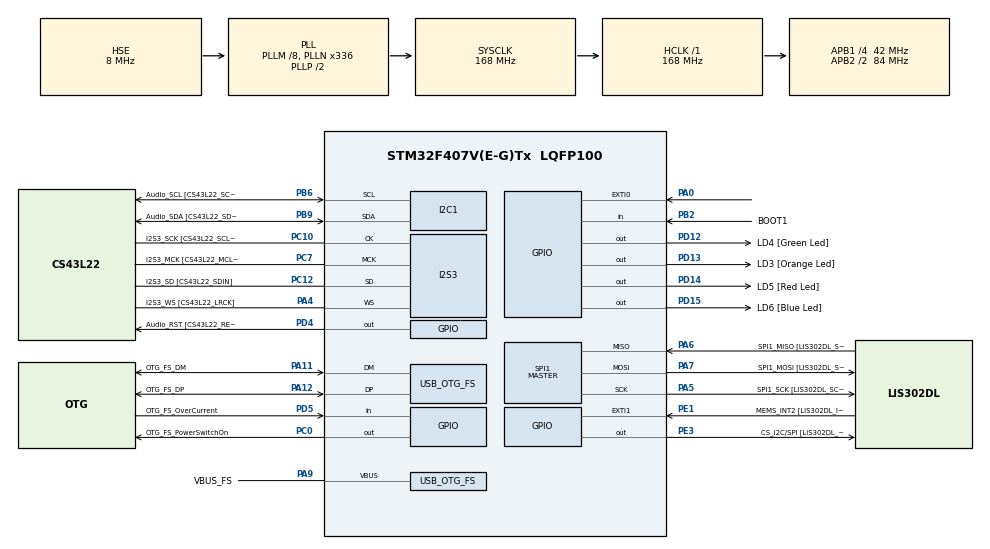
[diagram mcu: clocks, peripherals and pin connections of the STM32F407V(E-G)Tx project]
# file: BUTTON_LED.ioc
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I2S3.AudioFreq-Half_Duplex_Master=I2S_AUDIOFREQ_96K
I2S3.ErrorAudioFreq=-2.34 %
I2S3.ErrorAudioFreq-Half_Duplex_Master=0.8 %
I2S3.FullDuplexMode=I2S_FULLDUPLEXMODE_DISABLE
I2S3.Instance=SPI$Index
I2S3.RealAudioFreq=93.75 KHz
I2S3.RealAudioFreq-Half_Duplex_Master=96.774 KHz
I2S3.VirtualMode=I2S_MODE_MASTER
Mcu.Family=STM32F4
Mcu.Name=STM32F407V(E-G)Tx
Mcu.Package=LQFP100
NVIC.EXTI0_IRQn=true\:0\:0\:false\:false\:true\:true\:true\:true
NVIC.OTG_FS_IRQn=true\:0\:0\:false\:false\:true\:true\:true\:true
NVIC.PriorityGroup=NVIC_PRIORITYGROUP_0
PA0-WKUP.GPIO_ModeDefaultEXTI=GPIO_MODE_IT_RISING_FALLING
PA0-WKUP.GPIO_PuPd=GPIO_NOPULL
PA0-WKUP.Signal=GPXTI0
PA10.GPIO_Label=OTG_FS_ID
PA10.GPIO_Mode=GPIO_MODE_AF_PP
PA10.GPIO_PuPd=GPIO_NOPULL
PA10.GPIO_Speed=GPIO_SPEED_FREQ_LOW
PA10.Signal=USB_OTG_FS_ID
PA11.GPIO_Label=OTG_FS_DM
PA11.GPIO_Mode=GPIO_MODE_AF_PP
PA11.GPIO_PuPd=GPIO_NOPULL
PA11.GPIO_Speed=GPIO_SPEED_FREQ_LOW
PA11.Mode=Host_Only
PA11.Signal=USB_OTG_FS_DM
PA12.GPIO_Label=OTG_FS_DP
PA12.GPIO_Mode=GPIO_MODE_AF_PP
PA12.GPIO_PuPd=GPIO_NOPULL
PA12.GPIO_Speed=GPIO_SPEED_FREQ_LOW
PA12.Mode=Host_Only
PA12.Signal=USB_OTG_FS_DP
PA13.GPIO_Label=SWDIO
PA13.Mode=Serial_Wire
PA13.Signal=SYS_JTMS-SWDIO
PA14.GPIO_Label=SWCLK
PA14.Mode=Serial_Wire
PA14.Signal=SYS_JTCK-SWCLK
PA4.GPIO_Label=I2S3_WS [CS43L22_LRCK]
PA4.GPIO_Mode=GPIO_MODE_AF_PP
PA4.GPIO_PuPd=GPIO_NOPULL
PA4.GPIO_Speed=GPIO_SPEED_FREQ_LOW
PA4.Mode=Half_Duplex_Master
PA4.Signal=I2S3_WS
PA5.GPIO_Label=SPI1_SCK [LIS302DL_SCL/SPC]
PA5.GPIO_Mode=GPIO_MODE_AF_PP
PA5.GPIO_PuPd=GPIO_NOPULL
PA5.GPIO_Speed=GPIO_SPEED_FREQ_LOW
PA5.Mode=Full_Duplex_Master
PA5.Signal=SPI1_SCK
PA6.GPIO_Label=SPI1_MISO [LIS302DL_SDO]
PA6.GPIO_Mode=GPIO_MODE_AF_PP
PA6.GPIO_PuPd=GPIO_NOPULL
PA6.GPIO_Speed=GPIO_SPEED_FREQ_LOW
PA6.Mode=Full_Duplex_Master
PA6.Signal=SPI1_MISO
PA7.GPIO_Label=SPI1_MOSI [LIS302DL_SDA/SDI/SDO]
PA7.GPIO_Mode=GPIO_MODE_AF_PP
PA7.GPIO_PuPd=GPIO_NOPULL
PA7.GPIO_Speed=GPIO_SPEED_FREQ_LOW
PA7.Mode=Full_Duplex_Master
PA7.Signal=SPI1_MOSI
PA9.GPIO_Label=VBUS_FS
PA9.GPIO_Mode=GPIO_MODE_INPUT
PA9.GPIO_PuPd=GPIO_NOPULL
PA9.Mode=Activate_VBUS
PA9.Signal=USB_OTG_FS_VBUS
PB10.GPIO_Label=CLK_IN [MP45DT02_CLK]
PB10.GPIO_Mode=GPIO_MODE_AF_PP
PB10.GPIO_PuPd=GPIO_NOPULL
PB10.GPIO_Speed=GPIO_SPEED_FREQ_LOW
PB10.Signal=I2S2_CK
PB2.GPIO_Label=BOOT1
PB2.GPIO_Mode=GPIO_MODE_INPUT
PB2.GPIO_PuPd=GPIO_NOPULL
PB2.Signal=GPIO_Input
PB3.GPIO_Label=SWO
PB3.Signal=SYS_JTDO-SWO
PB6.GPIO_Label=Audio_SCL [CS43L22_SCL]
PB6.GPIO_Mode=GPIO_MODE_AF_OD
PB6.GPIO_Pu=GPIO_PULLUP
PB6.GPIO_PuPd=GPIO_NOPULL
PB6.GPIO_Speed=GPIO_SPEED_FREQ_LOW
PB6.Mode=I2C
PB6.Signal=I2C1_SCL
PB9.GPIO_Label=Audio_SDA [CS43L22_SDA]
PB9.GPIO_Mode=GPIO_MODE_AF_OD
PB9.GPIO_Pu=GPIO_PULLUP
PB9.GPIO_PuPd=GPIO_NOPULL
PB9.GPIO_Speed=GPIO_SPEED_FREQ_LOW
PB9.Mode=I2C
PB9.Signal=I2C1_SDA
PC0.GPIO_Label=OTG_FS_PowerSwitchOn
PC0.GPIO_PuPd=GPIO_NOPULL
PC0.GPIO_Speed=GPIO_SPEED_FREQ_LOW
PC0.PinState=GPIO_PIN_SET
PC0.Signal=GPIO_Output
PC10.GPIO_Label=I2S3_SCK [CS43L22_SCLK]
PC10.GPIO_Mode=GPIO_MODE_AF_PP
PC10.GPIO_PuPd=GPIO_NOPULL
PC10.GPIO_Speed=GPIO_SPEED_FREQ_LOW
PC10.Mode=Half_Duplex_Master
PC10.Signal=I2S3_CK
PC12.GPIO_Label=I2S3_SD [CS43L22_SDIN]
PC12.GPIO_Mode=GPIO_MODE_AF_PP
PC12.GPIO_PuPd=GPIO_NOPULL
PC12.GPIO_Speed=GPIO_SPEED_FREQ_LOW
PC12.Mode=Half_Duplex_Master
PC12.Signal=I2S3_SD
PC14-OSC32_IN.GPIO_Label=PC14-OSC32_IN
PC14-OSC32_IN.Mode=LSE-External-Oscillator
PC14-OSC32_IN.Signal=RCC_OSC32_IN
PC15-OSC32_OUT.GPIO_Label=PC15-OSC32_OUT
PC15-OSC32_OUT.Mode=LSE-External-Oscillator
PC15-OSC32_OUT.Signal=RCC_OSC32_OUT
PC3.GPIO_Label=PDM_OUT [MP45DT02_DOUT]
PC3.GPIO_Mode=GPIO_MODE_AF_PP
PC3.GPIO_PuPd=GPIO_NOPULL
PC3.GPIO_Speed=GPIO_SPEED_FREQ_LOW
PC3.Signal=I2S2_SD
PC7.GPIO_Label=I2S3_MCK [CS43L22_MCLK]
PC7.GPIO_Mode=GPIO_MODE_AF_PP
PC7.GPIO_PuPd=GPIO_NOPULL
PC7.GPIO_Speed=GPIO_SPEED_FREQ_LOW
PC7.Mode=Master_Clock_Activated
PC7.Signal=I2S3_MCK
PD12.GPIO_Label=LD4 [Green Led]
PD12.GPIO_PuPd=GPIO_NOPULL
PD12.GPIO_Speed=GPIO_SPEED_FREQ_LOW
PD12.Signal=GPIO_Output
PD13.GPIO_Label=LD3 [Orange Led]
PD13.GPIO_PuPd=GPIO_NOPULL
PD13.GPIO_Speed=GPIO_SPEED_FREQ_LOW
PD13.Signal=GPIO_Output
PD14.GPIO_Label=LD5 [Red Led]
PD14.GPIO_PuPd=GPIO_NOPULL
PD14.GPIO_Speed=GPIO_SPEED_FREQ_LOW
PD14.Signal=GPIO_Output
PD15.GPIO_Label=LD6 [Blue Led]
PD15.GPIO_PuPd=GPIO_NOPULL
PD15.GPIO_Speed=GPIO_SPEED_FREQ_LOW
PD15.PinState=GPIO_PIN_RESET
PD15.Signal=GPIO_Output
PD4.GPIO_Label=Audio_RST [CS43L22_RESET]
PD4.GPIO_PuPd=GPIO_NOPULL
PD4.GPIO_Speed=GPIO_SPEED_FREQ_LOW
PD4.Signal=GPIO_Output
PD5.GPIO_Label=OTG_FS_OverCurrent
PD5.GPIO_Mode=GPIO_MODE_INPUT
PD5.GPIO_PuPd=GPIO_NOPULL
PD5.Signal=GPIO_Input
PE1.GPIO_Label=MEMS_INT2 [LIS302DL_INT2]
PE1.GPIO_ModeDefaultEXTI=GPIO_MODE_EVT_RISING
PE1.GPIO_PuPd=GPIO_NOPULL
PE1.Signal=GPXTI1
PE3.GPIO_Label=CS_I2C/SPI [LIS302DL_CS_I2C/SPI]
PE3.GPIO_PuPd=GPIO_NOPULL
PE3.GPIO_Speed=GPIO_SPEED_FREQ_LOW
PE3.Signal=GPIO_Output
PH0-OSC_IN.GPIO_Label=PH0-OSC_IN
PH0-OSC_IN.Mode=HSE-External-Oscillator
PH0-OSC_IN.Signal=RCC_OSC_IN
PH1-OSC_OUT.GPIO_Label=PH1-OSC_OUT
PH1-OSC_OUT.Mode=HSE-External-Oscillator
PH1-OSC_OUT.Signal=RCC_OSC_OUT
ProjectManager.HeapSize=0x200
ProjectManager.StackSize=0x400
ProjectManager.TargetToolchain=STM32CubeIDE
RCC.48MHZClocksFreq_Value=48000000
RCC.AHBFreq_Value=168000000
RCC.APB1CLKDivider=RCC_HCLK_DIV4
RCC.APB1Freq_Value=42000000
RCC.APB1TimFreq_Value=84000000
RCC.APB2CLKDivider=RCC_HCLK_DIV2
RCC.APB2Freq_Value=84000000
RCC.APB2TimFreq_Value=168000000
RCC.CortexFreq_Value=168000000
RCC.HCLKFreq_Value=168000000
RCC.HSE_VALUE=8000000
RCC.HSI_VALUE=16000000
RCC.PLLM=8
RCC.PLLN=336
RCC.PLLQ=7
RCC.SYSCLKFreq_VALUE=168000000
RCC.SYSCLKSource=RCC_SYSCLKSOURCE_PLLCLK
RCC.VCOOutputFreq_Value=336000000
SPI1.BaudRatePrescaler-Full_Duplex_Master=SPI_BAUDRATEPRESCALER_2
SPI1.CalculateBaudRate-Full_Duplex_Master=42.0 MBits/s
SPI1.Direction=SPI_DIRECTION_2LINES
SPI1.Mode=SPI_MODE_MASTER
SPI1.Mode-Full_Duplex_Master=SPI_MODE_MASTER
SPI1.VirtualType=VM_MASTER
USB_HOST.BSP.number=1
USB_HOST.USBH_HandleTypeDef-CDC_FS=hUsbHostFS
USB_HOST.VirtualModeFS=Cdc
USB_HOST0.BSP.STBoard=false
USB_HOST0.BSP.api=Unknown
USB_HOST0.BSP.instance=PC0
USB_HOST0.BSP.ip=GPIO
USB_HOST0.BSP.mode=Output
USB_HOST0.BSP.name=Drive_VBUS_FS
USB_HOST0.BSP.solution=PC0
USB_OTG_FS.VirtualMode=Host_Only
USB_OTG_FS.phy_itface=HCD_PHY_EMBEDDED
VP_USB_HOST_VS_USB_HOST_CDC_FS.Mode=CDC_FS
board=STM32F407G-DISC1

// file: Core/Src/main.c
/* USER CODE BEGIN Header */
/**
  ******************************************************************************
  * @file           : main.c
  * @brief          : Main program body
  ******************************************************************************
  * @attention
  *
  * Copyright (c) 2025 STMicroelectronics.
  * All rights reserved.
  *
  * This software is licensed under terms that can be found in the LICENSE file
  * in the root directory of this software component.
  * If no LICENSE file comes with this software, it is provided AS-IS.
  *
  ******************************************************************************
  */
/* USER CODE END Header */
#include "main.h"
#include "usb_host.h"

I2C_HandleTypeDef hi2c1;

I2S_HandleTypeDef hi2s3;

SPI_HandleTypeDef hspi1;

void SystemClock_Config(void);
static void MX_GPIO_Init(void);
static void MX_I2C1_Init(void);
static void MX_I2S3_Init(void);
static void MX_SPI1_Init(void);
void MX_USB_HOST_Process(void);

/* USER CODE BEGIN PFP */
void buttonLed(void);
void readData(void);

/* USER CODE END PFP */

/* USER CODE BEGIN 0 */
GPIO_PinState ButtonState = 0;
GPIO_PinState LedState = 0;

/* USER CODE END 0 */

int main(void)
{

  /* MCU Configuration--------------------------------------------------------*/

  /* Reset of all peripherals, Initializes the Flash interface and the Systick. */
  HAL_Init();

  /* Configure the system clock */
  SystemClock_Config();

  /* Initialize all configured peripherals */
  MX_GPIO_Init();
  MX_I2C1_Init();
  MX_I2S3_Init();
  MX_SPI1_Init();
  MX_USB_HOST_Init();

  /* Infinite loop */
  while (1)
  {
    MX_USB_HOST_Process();

  }
}

void SystemClock_Config(void)
{
  RCC_OscInitTypeDef RCC_OscInitStruct = {0};
  RCC_ClkInitTypeDef RCC_ClkInitStruct = {0};

  /** Configure the main internal regulator output voltage
  */
  __HAL_RCC_PWR_CLK_ENABLE();
  __HAL_PWR_VOLTAGESCALING_CONFIG(PWR_REGULATOR_VOLTAGE_SCALE1);

  /** Initializes the RCC Oscillators according to the specified parameters
  * in the RCC_OscInitTypeDef structure.
  */
  RCC_OscInitStruct.OscillatorType = RCC_OSCILLATORTYPE_HSE;
  RCC_OscInitStruct.HSEState = RCC_HSE_ON;
  RCC_OscInitStruct.PLL.PLLState = RCC_PLL_ON;
  RCC_OscInitStruct.PLL.PLLSource = RCC_PLLSOURCE_HSE;
  RCC_OscInitStruct.PLL.PLLM = 8;
  RCC_OscInitStruct.PLL.PLLN = 336;
  RCC_OscInitStruct.PLL.PLLP = RCC_PLLP_DIV2;
  RCC_OscInitStruct.PLL.PLLQ = 7;
  if (HAL_RCC_OscConfig(&RCC_OscInitStruct) != HAL_OK)
  {
    Error_Handler();
  }

  /** Initializes the CPU, AHB and APB buses clocks
  */
  RCC_ClkInitStruct.ClockType = RCC_CLOCKTYPE_HCLK|RCC_CLOCKTYPE_SYSCLK
                              |RCC_CLOCKTYPE_PCLK1|RCC_CLOCKTYPE_PCLK2;
  RCC_ClkInitStruct.SYSCLKSource = RCC_SYSCLKSOURCE_PLLCLK;
  RCC_ClkInitStruct.AHBCLKDivider = RCC_SYSCLK_DIV1;
  RCC_ClkInitStruct.APB1CLKDivider = RCC_HCLK_DIV4;
  RCC_ClkInitStruct.APB2CLKDivider = RCC_HCLK_DIV2;

  if (HAL_RCC_ClockConfig(&RCC_ClkInitStruct, FLASH_LATENCY_5) != HAL_OK)
  {
    Error_Handler();
  }
}

static void MX_I2C1_Init(void)
{

  hi2c1.Instance = I2C1;
  hi2c1.Init.ClockSpeed = 100000;
  hi2c1.Init.DutyCycle = I2C_DUTYCYCLE_2;
  hi2c1.Init.OwnAddress1 = 0;
  hi2c1.Init.AddressingMode = I2C_ADDRESSINGMODE_7BIT;
  hi2c1.Init.DualAddressMode = I2C_DUALADDRESS_DISABLE;
  hi2c1.Init.OwnAddress2 = 0;
  hi2c1.Init.GeneralCallMode = I2C_GENERALCALL_DISABLE;
  hi2c1.Init.NoStretchMode = I2C_NOSTRETCH_DISABLE;
  if (HAL_I2C_Init(&hi2c1) != HAL_OK)
  {
    Error_Handler();
  }

}

static void MX_I2S3_Init(void)
{

  hi2s3.Instance = SPI3;
  hi2s3.Init.Mode = I2S_MODE_MASTER_TX;
  hi2s3.Init.Standard = I2S_STANDARD_PHILIPS;
  hi2s3.Init.DataFormat = I2S_DATAFORMAT_16B;
  hi2s3.Init.MCLKOutput = I2S_MCLKOUTPUT_ENABLE;
  hi2s3.Init.AudioFreq = I2S_AUDIOFREQ_96K;
  hi2s3.Init.CPOL = I2S_CPOL_LOW;
  hi2s3.Init.ClockSource = I2S_CLOCK_PLL;
  hi2s3.Init.FullDuplexMode = I2S_FULLDUPLEXMODE_DISABLE;
  if (HAL_I2S_Init(&hi2s3) != HAL_OK)
  {
    Error_Handler();
  }

}

static void MX_SPI1_Init(void)
{

  /* SPI1 parameter configuration*/
  hspi1.Instance = SPI1;
  hspi1.Init.Mode = SPI_MODE_MASTER;
  hspi1.Init.Direction = SPI_DIRECTION_2LINES;
  hspi1.Init.DataSize = SPI_DATASIZE_8BIT;
  hspi1.Init.CLKPolarity = SPI_POLARITY_LOW;
  hspi1.Init.CLKPhase = SPI_PHASE_1EDGE;
  hspi1.Init.NSS = SPI_NSS_SOFT;
  hspi1.Init.BaudRatePrescaler = SPI_BAUDRATEPRESCALER_2;
  hspi1.Init.FirstBit = SPI_FIRSTBIT_MSB;
  hspi1.Init.TIMode = SPI_TIMODE_DISABLE;
  hspi1.Init.CRCCalculation = SPI_CRCCALCULATION_DISABLE;
  hspi1.Init.CRCPolynomial = 10;
  if (HAL_SPI_Init(&hspi1) != HAL_OK)
  {
    Error_Handler();
  }

}

static void MX_GPIO_Init(void)
{
  GPIO_InitTypeDef GPIO_InitStruct = {0};

  /* GPIO Ports Clock Enable */
  __HAL_RCC_GPIOE_CLK_ENABLE();
  __HAL_RCC_GPIOC_CLK_ENABLE();
  __HAL_RCC_GPIOH_CLK_ENABLE();
  __HAL_RCC_GPIOA_CLK_ENABLE();
  __HAL_RCC_GPIOB_CLK_ENABLE();
  __HAL_RCC_GPIOD_CLK_ENABLE();

  /*Configure GPIO pin Output Level */
  HAL_GPIO_WritePin(CS_I2C_SPI_GPIO_Port, CS_I2C_SPI_Pin, GPIO_PIN_RESET);

  /*Configure GPIO pin Output Level */
  HAL_GPIO_WritePin(OTG_FS_PowerSwitchOn_GPIO_Port, OTG_FS_PowerSwitchOn_Pin, GPIO_PIN_SET);

  /*Configure GPIO pin Output Level */
  HAL_GPIO_WritePin(GPIOD, LD4_Pin|LD3_Pin|LD5_Pin|LD6_Pin
                          |Audio_RST_Pin, GPIO_PIN_RESET);

  /*Configure GPIO pin : CS_I2C_SPI_Pin */
  GPIO_InitStruct.Pin = CS_I2C_SPI_Pin;
  GPIO_InitStruct.Mode = GPIO_MODE_OUTPUT_PP;
  GPIO_InitStruct.Pull = GPIO_NOPULL;
  GPIO_InitStruct.Speed = GPIO_SPEED_FREQ_LOW;
  HAL_GPIO_Init(CS_I2C_SPI_GPIO_Port, &GPIO_InitStruct);

  /*Configure GPIO pin : OTG_FS_PowerSwitchOn_Pin */
  GPIO_InitStruct.Pin = OTG_FS_PowerSwitchOn_Pin;
  GPIO_InitStruct.Mode = GPIO_MODE_OUTPUT_PP;
  GPIO_InitStruct.Pull = GPIO_NOPULL;
  GPIO_InitStruct.Speed = GPIO_SPEED_FREQ_LOW;
  HAL_GPIO_Init(OTG_FS_PowerSwitchOn_GPIO_Port, &GPIO_InitStruct);

  /*Configure GPIO pin : PDM_OUT_Pin */
  GPIO_InitStruct.Pin = PDM_OUT_Pin;
  GPIO_InitStruct.Mode = GPIO_MODE_AF_PP;
  GPIO_InitStruct.Pull = GPIO_NOPULL;
  GPIO_InitStruct.Speed = GPIO_SPEED_FREQ_LOW;
  GPIO_InitStruct.Alternate = GPIO_AF5_SPI2;
  HAL_GPIO_Init(PDM_OUT_GPIO_Port, &GPIO_InitStruct);

  /*Configure GPIO pin : PA0 */
  GPIO_InitStruct.Pin = GPIO_PIN_0;
  GPIO_InitStruct.Mode = GPIO_MODE_IT_RISING_FALLING;
  GPIO_InitStruct.Pull = GPIO_NOPULL;
  HAL_GPIO_Init(GPIOA, &GPIO_InitStruct);

  /*Configure GPIO pin : BOOT1_Pin */
  GPIO_InitStruct.Pin = BOOT1_Pin;
  GPIO_InitStruct.Mode = GPIO_MODE_INPUT;
  GPIO_InitStruct.Pull = GPIO_NOPULL;
  HAL_GPIO_Init(BOOT1_GPIO_Port, &GPIO_InitStruct);

  /*Configure GPIO pin : CLK_IN_Pin */
  GPIO_InitStruct.Pin = CLK_IN_Pin;
  GPIO_InitStruct.Mode = GPIO_MODE_AF_PP;
  GPIO_InitStruct.Pull = GPIO_NOPULL;
  GPIO_InitStruct.Speed = GPIO_SPEED_FREQ_LOW;
  GPIO_InitStruct.Alternate = GPIO_AF5_SPI2;
  HAL_GPIO_Init(CLK_IN_GPIO_Port, &GPIO_InitStruct);

  /*Configure GPIO pins : LD4_Pin LD3_Pin LD5_Pin LD6_Pin
                           Audio_RST_Pin */
  GPIO_InitStruct.Pin = LD4_Pin|LD3_Pin|LD5_Pin|LD6_Pin
                          |Audio_RST_Pin;
  GPIO_InitStruct.Mode = GPIO_MODE_OUTPUT_PP;
  GPIO_InitStruct.Pull = GPIO_NOPULL;
  GPIO_InitStruct.Speed = GPIO_SPEED_FREQ_LOW;
  HAL_GPIO_Init(GPIOD, &GPIO_InitStruct);

  /*Configure GPIO pin : OTG_FS_OverCurrent_Pin */
  GPIO_InitStruct.Pin = OTG_FS_OverCurrent_Pin;
  GPIO_InitStruct.Mode = GPIO_MODE_INPUT;
  GPIO_InitStruct.Pull = GPIO_NOPULL;
  HAL_GPIO_Init(OTG_FS_OverCurrent_GPIO_Port, &GPIO_InitStruct);

  /*Configure GPIO pin : MEMS_INT2_Pin */
  GPIO_InitStruct.Pin = MEMS_INT2_Pin;
  GPIO_InitStruct.Mode = GPIO_MODE_EVT_RISING;
  GPIO_InitStruct.Pull = GPIO_NOPULL;
  HAL_GPIO_Init(MEMS_INT2_GPIO_Port, &GPIO_InitStruct);

  /* EXTI interrupt init*/
  HAL_NVIC_SetPriority(EXTI0_IRQn, 0, 0);
  HAL_NVIC_EnableIRQ(EXTI0_IRQn);

}

/* USER CODE BEGIN 4 */

void HAL_GPIO_EXTI_Callback(uint16_t GPIO_Pin)
{
	readData();
	buttonLed();
	readData();
}

void readData(){
	  ButtonState = HAL_GPIO_ReadPin(GPIOA, GPIO_PIN_0);
	  LedState = HAL_GPIO_ReadPin(GPIOD, GPIO_PIN_15);
}

void buttonLed(void){
//	  GPIO_InitStruct.Pin = Button_Pin;
//	  GPIO_InitStruct.Mode = GPIO_MODE_INPUT;
//	  GPIO_InitStruct.Pull = GPIO_PULLDOWN;
//	  HAL_GPIO_Init(Button_GPIO_Port, &GPIO_InitStruct);
	  if(ButtonState == GPIO_PIN_SET){
		  HAL_GPIO_WritePin(GPIOD, GPIO_PIN_15, GPIO_PIN_SET);
	  }
	  else{
		  HAL_GPIO_WritePin(GPIOD, GPIO_PIN_15, GPIO_PIN_RESET);
	  }

}

/* USER CODE END 4 */

void Error_Handler(void)
{
  __disable_irq();
  while (1)
  {
  }
}
